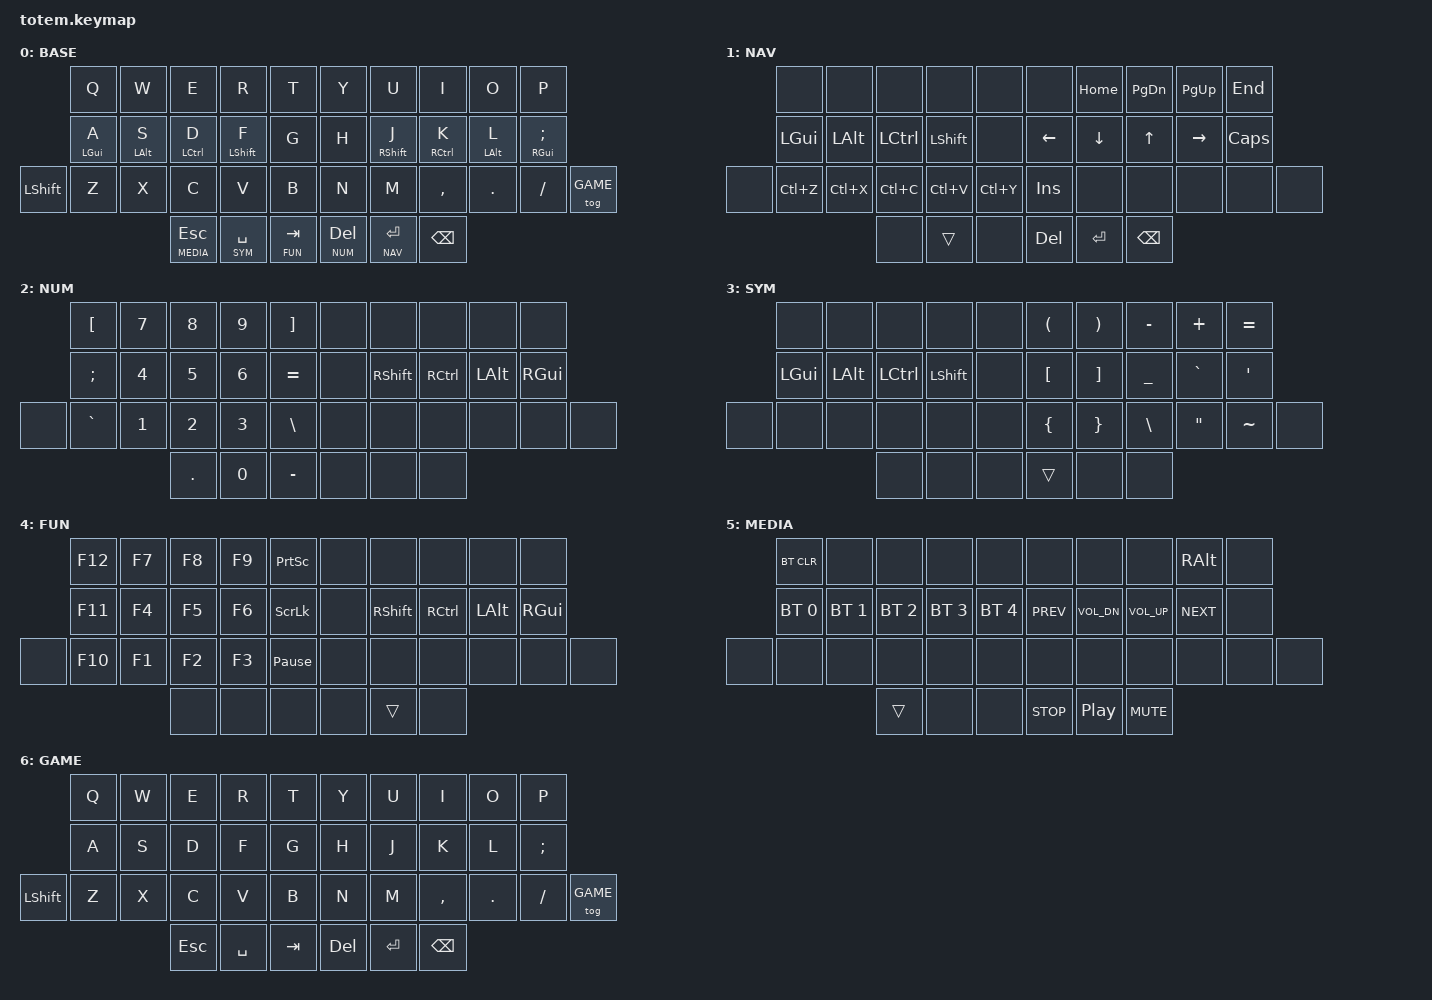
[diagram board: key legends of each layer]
//
//                                                        ▀▀▀▀▀     ▀▀▀▀▀          ▀▀█▀▀
//                                                        ▄▀▀▀▄  ▄  ▄▀▀▀▄  ▄  ▄▀▀▀▄  █  ▄▀▀▀▄
//                                                        █   █  █  █   █  █  █   █  █  █   █
//                                                         ▀▀▀   █   ▀▀▀   █   ▀▀▀   ▀   ▀▀▀
//                                                               █      ▄▄▄█▄▄▄    █   █
//                                                               ▀      █  █  █     █▄█
//                                                             ▀▀▀▀▀    █  █  █      ▀
//                                                                      ▀  ▀  ▀
//
// ▄▄▄▄▄▄▄▄▄▄▄▄▄▄▄▄▄▄▄▄▄▄▄▄▄▄▄▄▄▄▄▄▄▄▄▄▄▄▄▄▄▄▄▄▄▄▄▄▄▄▄▄▄▄▄▄▄▄▄▄▄▄▄▄▄▄▄▄▄▄▄▄▄▄▄▄▄▄▄▄▄▄▄▄▄▄▄▄▄▄▄▄▄▄▄▄▄▄▄▄▄▄▄▄▄▄▄▄▄▄▄▄▄▄▄▄▄▄▄▄▄▄▄▄▄▄▄▄▄▄▄▄▄▄▄▄▄▄▄▄▄▄▄▄▄▄▄▄▄

#include <behaviors.dtsi>
#include <dt-bindings/zmk/bt.h>
#include <dt-bindings/zmk/keys.h>

#define BASE 0
#define NAV  1
#define NUM  2
#define SYM  3
#define FUN  4
#define MEDIA 5
#define GAME 6

/ {
    behaviors {
        hm: homerow_mods {
            compatible = "zmk,behavior-hold-tap";
            #binding-cells = <2>;
            tapping-term-ms = <200>;
            quick-tap-ms = <0>;
            flavor = "tap-preferred";
            bindings = <&kp>, <&kp>;
        };
    };

    keymap {
        compatible = "zmk,keymap";

        // ▄▄▄▄▄▄▄▄▄▄▄▄▄▄▄▄▄▄▄▄▄▄▄▄▄▄▄▄▄▄▄▄▄▄▄▄▄▄▄▄▄▄▄▄▄▄▄▄▄▄▄▄▄▄▄▄▄▄▄▄▄▄▄▄▄▄▄▄▄▄▄▄▄▄▄▄▄▄▄▄▄▄▄▄▄▄▄▄▄▄▄▄▄▄▄▄▄▄▄▄▄▄▄▄▄▄▄▄▄▄▄▄▄▄▄▄▄▄▄▄▄▄▄▄▄▄▄▄▄▄▄▄▄▄▄▄▄▄▄▄▄▄▄▄▄▄▄▄▄

        base_layer {
            // ┏━━━━━━━━━━━━━━━━━━━━━━━━━━━━━━━━━━━━━━━┓

            label = "BASE";

            // ┗━━━━━━━━━━━━━━━━━━━━━━━━━━━━━━━━━━━━━━━┛
            //             ┏━━━━━━━━━━━┳━━━━━━━━━━━┳━━━━━━━━━━━┳━━━━━━━━━━━┳━━━━━━━━━━━┓   ┏━━━━━━━━━━━┳━━━━━━━━━━━┳━━━━━━━━━━━┳━━━━━━━━━━━┳━━━━━━━━━━━┓
            //             ┃     Q     ┃     W     ┃     E     ┃     R     ┃     T     ┃   ┃     Y     ┃     U     ┃     I     ┃     O     ┃     P     ┃
            //             ┣━━━━━━━━━━━╋━━━━━━━━━━━╋━━━━━━━━━━━╋━━━━━━━━━━━╋━━━━━━━━━━━┫   ┣━━━━━━━━━━━╋━━━━━━━━━━━╋━━━━━━━━━━━╋━━━━━━━━━━━╋━━━━━━━━━━━┫
            //             ┃  GUI/A    ┃  ALT/S    ┃  CTRL/D   ┃  SHFT/F   ┃     G     ┃   ┃     H     ┃  SHFT/J   ┃  CTRL/K   ┃  ALT/L    ┃  GUI/;    ┃
            // ┏━━━━━━━━━━━╋━━━━━━━━━━━╋━━━━━━━━━━━╋━━━━━━━━━━━╋━━━━━━━━━━━╋━━━━━━━━━━━┫   ┣━━━━━━━━━━━╋━━━━━━━━━━━╋━━━━━━━━━━━╋━━━━━━━━━━━╋━━━━━━━━━━━╋━━━━━━━━━━━┓
            // ┃           ┃     Z     ┃     X     ┃     C     ┃     V     ┃     B     ┃   ┃     N     ┃     M     ┃     ,     ┃     .     ┃     /     ┃           ┃
            // ┗━━━━━━━━━━━┻━━━━━━━━━━━┻━━━━━━━━━━━╋━━━━━━━━━━━╋━━━━━━━━━━━╋━━━━━━━━━━━┫   ┣━━━━━━━━━━━╋━━━━━━━━━━━╋━━━━━━━━━━━╋━━━━━━━━━━━┻━━━━━━━━━━━┻━━━━━━━━━━━┛
            //                                     ┃ ESC/MEDIA ┃ SPC/SYM   ┃ TAB/FUN   ┃   ┃ DEL/NUM   ┃ ENT/NAV   ┃   BSPC    ┃
            //                                     ┗━━━━━━━━━━━┻━━━━━━━━━━━┻━━━━━━━━━━━┛   ┗━━━━━━━━━━━┻━━━━━━━━━━━┻━━━━━━━━━━━┛

            bindings = <
                &kp Q       &kp W       &kp E          &kp R          &kp T          &kp Y        &kp U          &kp I        &kp O       &kp P
                &hm LGUI A  &hm LALT S  &hm LCTRL D    &hm LSHFT F    &kp G          &kp H        &hm RSHFT J    &hm RCTRL K  &hm LALT L  &hm RGUI SEMI
&kp LEFT_SHIFT  &kp Z       &kp X       &kp C          &kp V          &kp B          &kp N        &kp M          &kp COMMA    &kp DOT     &kp FSLH       &tog GAME
                                        &lt MEDIA ESC  &lt SYM SPACE  &lt FUN TAB    &lt NUM DEL  &lt NAV ENTER  &kp BSPC
            >;
        };

        // ▄▄▄▄▄▄▄▄▄▄▄▄▄▄▄▄▄▄▄▄▄▄▄▄▄▄▄▄▄▄▄▄▄▄▄▄▄▄▄▄▄▄▄▄▄▄▄▄▄▄▄▄▄▄▄▄▄▄▄▄▄▄▄▄▄▄▄▄▄▄▄▄▄▄▄▄▄▄▄▄▄▄▄▄▄▄▄▄▄▄▄▄▄▄▄▄▄▄▄▄▄▄▄▄▄▄▄▄▄▄▄▄▄▄▄▄▄▄▄▄▄▄▄▄▄▄▄▄▄▄▄▄▄▄▄▄▄▄▄▄▄▄▄▄▄▄▄▄▄

        nav_layer {
            // ┏━━━━━━━━━━━━━━━━━━━━━━━━━━━━━━━━━━━━━━━┓

            label = "NAV";

            // ┗━━━━━━━━━━━━━━━━━━━━━━━━━━━━━━━━━━━━━━━┛
            //             ┏━━━━━━━━━━━┳━━━━━━━━━━━┳━━━━━━━━━━━┳━━━━━━━━━━━┳━━━━━━━━━━━┓   ┏━━━━━━━━━━━┳━━━━━━━━━━━┳━━━━━━━━━━━┳━━━━━━━━━━━┳━━━━━━━━━━━┓
            //             ┃           ┃           ┃           ┃           ┃           ┃   ┃           ┃   HOME    ┃  PG_DN    ┃  PG_UP    ┃    END    ┃
            //             ┣━━━━━━━━━━━╋━━━━━━━━━━━╋━━━━━━━━━━━╋━━━━━━━━━━━╋━━━━━━━━━━━┫   ┣━━━━━━━━━━━╋━━━━━━━━━━━╋━━━━━━━━━━━╋━━━━━━━━━━━╋━━━━━━━━━━━┫
            //             ┃   GUI     ┃   ALT     ┃   CTRL    ┃   SHFT    ┃           ┃   ┃   LEFT    ┃   DOWN    ┃    UP     ┃   RIGHT   ┃   CAPS    ┃
            // ┏━━━━━━━━━━━╋━━━━━━━━━━━╋━━━━━━━━━━━╋━━━━━━━━━━━╋━━━━━━━━━━━╋━━━━━━━━━━━┫   ┣━━━━━━━━━━━╋━━━━━━━━━━━╋━━━━━━━━━━━╋━━━━━━━━━━━╋━━━━━━━━━━━╋━━━━━━━━━━━┓
            // ┃           ┃   UNDO    ┃   CUT     ┃   COPY    ┃   PASTE   ┃   REDO    ┃   ┃   INS     ┃           ┃           ┃           ┃           ┃           ┃
            // ┗━━━━━━━━━━━┻━━━━━━━━━━━┻━━━━━━━━━━━╋━━━━━━━━━━━╋━━━━━━━━━━━╋━━━━━━━━━━━┫   ┣━━━━━━━━━━━╋━━━━━━━━━━━╋━━━━━━━━━━━╋━━━━━━━━━━━┻━━━━━━━━━━━┻━━━━━━━━━━━┛
            //                                     ┃           ┃           ┃           ┃   ┃    DEL    ┃   ENTER   ┃   BSPC    ┃
            //                                     ┗━━━━━━━━━━━┻━━━━━━━━━━━┻━━━━━━━━━━━┛   ┗━━━━━━━━━━━┻━━━━━━━━━━━┻━━━━━━━━━━━┛

            bindings = <
       &none      &none      &none      &none      &none        &none     &kp HOME   &kp PG_DN  &kp PG_UP  &kp END
       &kp LGUI   &kp LALT   &kp LCTRL  &kp LSHFT  &none        &kp LEFT  &kp DOWN   &kp UP     &kp RIGHT  &kp CAPS
&none  &kp LC(Z)  &kp LC(X)  &kp LC(C)  &kp LC(V)  &kp LC(Y)    &kp INS   &none      &none      &none      &none     &none
                             &none      &trans     &none        &kp DEL   &kp ENTER  &kp BSPC
            >;
        };

        // ▄▄▄▄▄▄▄▄▄▄▄▄▄▄▄▄▄▄▄▄▄▄▄▄▄▄▄▄▄▄▄▄▄▄▄▄▄▄▄▄▄▄▄▄▄▄▄▄▄▄▄▄▄▄▄▄▄▄▄▄▄▄▄▄▄▄▄▄▄▄▄▄▄▄▄▄▄▄▄▄▄▄▄▄▄▄▄▄▄▄▄▄▄▄▄▄▄▄▄▄▄▄▄▄▄▄▄▄▄▄▄▄▄▄▄▄▄▄▄▄▄▄▄▄▄▄▄▄▄▄▄▄▄▄▄▄▄▄▄▄▄▄▄▄▄▄▄▄▄

        num_layer {
            // ┏━━━━━━━━━━━━━━━━━━━━━━━━━━━━━━━━━━━━━━━┓

            label = "NUM";

            // ┗━━━━━━━━━━━━━━━━━━━━━━━━━━━━━━━━━━━━━━━┛
            //             ┏━━━━━━━━━━━┳━━━━━━━━━━━┳━━━━━━━━━━━┳━━━━━━━━━━━┳━━━━━━━━━━━┓   ┏━━━━━━━━━━━┳━━━━━━━━━━━┳━━━━━━━━━━━┳━━━━━━━━━━━┳━━━━━━━━━━━┓
            //             ┃     [     ┃     7     ┃     8     ┃     9     ┃     ]     ┃   ┃           ┃           ┃           ┃           ┃           ┃
            //             ┣━━━━━━━━━━━╋━━━━━━━━━━━╋━━━━━━━━━━━╋━━━━━━━━━━━╋━━━━━━━━━━━┫   ┣━━━━━━━━━━━╋━━━━━━━━━━━╋━━━━━━━━━━━╋━━━━━━━━━━━╋━━━━━━━━━━━┫
            //             ┃     ;     ┃     4     ┃     5     ┃     6     ┃     =     ┃   ┃           ┃   SHFT    ┃   CTRL    ┃   ALT     ┃   GUI     ┃
            // ┏━━━━━━━━━━━╋━━━━━━━━━━━╋━━━━━━━━━━━╋━━━━━━━━━━━╋━━━━━━━━━━━╋━━━━━━━━━━━┫   ┣━━━━━━━━━━━╋━━━━━━━━━━━╋━━━━━━━━━━━╋━━━━━━━━━━━╋━━━━━━━━━━━╋━━━━━━━━━━━┓
            // ┃           ┃     `     ┃     1     ┃     2     ┃     3     ┃     \     ┃   ┃           ┃           ┃           ┃           ┃           ┃           ┃
            // ┗━━━━━━━━━━━┻━━━━━━━━━━━┻━━━━━━━━━━━╋━━━━━━━━━━━╋━━━━━━━━━━━╋━━━━━━━━━━━┫   ┣━━━━━━━━━━━╋━━━━━━━━━━━╋━━━━━━━━━━━╋━━━━━━━━━━━┻━━━━━━━━━━━┻━━━━━━━━━━━┛
            //                                     ┃     .     ┃     0     ┃    MINUS  ┃   ┃           ┃           ┃           ┃
            //                                     ┗━━━━━━━━━━━┻━━━━━━━━━━━┻━━━━━━━━━━━┛   ┗━━━━━━━━━━━┻━━━━━━━━━━━┻━━━━━━━━━━━┛

            bindings = <
       &kp LBKT   &kp N7  &kp N8   &kp N9  &kp RBKT     &none  &none      &none      &none     &none
       &kp SEMI   &kp N4  &kp N5   &kp N6  &kp EQUAL    &none  &kp RSHFT  &kp RCTRL  &kp LALT  &kp RGUI
&none  &kp GRAVE  &kp N1  &kp N2   &kp N3  &kp BSLH     &none  &none      &none      &none     &none     &none
                          &kp DOT  &kp N0  &kp MINUS    &none  &none      &none
            >;
        };

        // ▄▄▄▄▄▄▄▄▄▄▄▄▄▄▄▄▄▄▄▄▄▄▄▄▄▄▄▄▄▄▄▄▄▄▄▄▄▄▄▄▄▄▄▄▄▄▄▄▄▄▄▄▄▄▄▄▄▄▄▄▄▄▄▄▄▄▄▄▄▄▄▄▄▄▄▄▄▄▄▄▄▄▄▄▄▄▄▄▄▄▄▄▄▄▄▄▄▄▄▄▄▄▄▄▄▄▄▄▄▄▄▄▄▄▄▄▄▄▄▄▄▄▄▄▄▄▄▄▄▄▄▄▄▄▄▄▄▄▄▄▄▄▄▄▄▄▄▄▄

        sym_layer {
            // ┏━━━━━━━━━━━━━━━━━━━━━━━━━━━━━━━━━━━━━━━┓

            label = "SYM";

            // ┗━━━━━━━━━━━━━━━━━━━━━━━━━━━━━━━━━━━━━━━┛
            //             ┏━━━━━━━━━━━┳━━━━━━━━━━━┳━━━━━━━━━━━┳━━━━━━━━━━━┳━━━━━━━━━━━┓   ┏━━━━━━━━━━━┳━━━━━━━━━━━┳━━━━━━━━━━━┳━━━━━━━━━━━┳━━━━━━━━━━━┓
            //             ┃           ┃           ┃           ┃           ┃           ┃   ┃     (     ┃     )     ┃     -     ┃     +     ┃     =     ┃
            //             ┣━━━━━━━━━━━╋━━━━━━━━━━━╋━━━━━━━━━━━╋━━━━━━━━━━━╋━━━━━━━━━━━┫   ┣━━━━━━━━━━━╋━━━━━━━━━━━╋━━━━━━━━━━━╋━━━━━━━━━━━╋━━━━━━━━━━━┫
            //             ┃   GUI     ┃   ALT     ┃   CTRL    ┃   SHFT    ┃           ┃   ┃     [     ┃     ]     ┃     _     ┃     |     ┃     '     ┃
            // ┏━━━━━━━━━━━╋━━━━━━━━━━━╋━━━━━━━━━━━╋━━━━━━━━━━━╋━━━━━━━━━━━╋━━━━━━━━━━━┫   ┣━━━━━━━━━━━╋━━━━━━━━━━━╋━━━━━━━━━━━╋━━━━━━━━━━━╋━━━━━━━━━━━╋━━━━━━━━━━━┓
            // ┃           ┃           ┃           ┃           ┃           ┃           ┃   ┃     {     ┃     }     ┃     \     ┃     "     ┃     ~     ┃           ┃
            // ┗━━━━━━━━━━━┻━━━━━━━━━━━┻━━━━━━━━━━━╋━━━━━━━━━━━╋━━━━━━━━━━━╋━━━━━━━━━━━┫   ┣━━━━━━━━━━━╋━━━━━━━━━━━╋━━━━━━━━━━━╋━━━━━━━━━━━┻━━━━━━━━━━━┻━━━━━━━━━━━┛
            //                                     ┃           ┃           ┃           ┃   ┃           ┃           ┃           ┃
            //                                     ┗━━━━━━━━━━━┻━━━━━━━━━━━┻━━━━━━━━━━━┛   ┗━━━━━━━━━━━┻━━━━━━━━━━━┻━━━━━━━━━━━┛

            bindings = <
       &none     &none     &none      &none      &none    &kp LPAR  &kp RPAR  &kp MINUS  &kp PLUS   &kp EQUAL
       &kp LGUI  &kp LALT  &kp LCTRL  &kp LSHFT  &none    &kp LBKT  &kp RBKT  &kp UNDER  &kp GRAVE  &kp SQT
&none  &none     &none     &none      &none      &none    &kp LBRC  &kp RBRC  &kp BSLH   &kp DQT    &kp TILDE  &none
                           &none      &none      &none    &trans    &none     &none
            >;
        };

        // ▄▄▄▄▄▄▄▄▄▄▄▄▄▄▄▄▄▄▄▄▄▄▄▄▄▄▄▄▄▄▄▄▄▄▄▄▄▄▄▄▄▄▄▄▄▄▄▄▄▄▄▄▄▄▄▄▄▄▄▄▄▄▄▄▄▄▄▄▄▄▄▄▄▄▄▄▄▄▄▄▄▄▄▄▄▄▄▄▄▄▄▄▄▄▄▄▄▄▄▄▄▄▄▄▄▄▄▄▄▄▄▄▄▄▄▄▄▄▄▄▄▄▄▄▄▄▄▄▄▄▄▄▄▄▄▄▄▄▄▄▄▄▄▄▄▄▄▄▄

        fun_layer {
            // ┏━━━━━━━━━━━━━━━━━━━━━━━━━━━━━━━━━━━━━━━┓

            label = "FUN";

            // ┗━━━━━━━━━━━━━━━━━━━━━━━━━━━━━━━━━━━━━━━┛
            //             ┏━━━━━━━━━━━┳━━━━━━━━━━━┳━━━━━━━━━━━┳━━━━━━━━━━━┳━━━━━━━━━━━┓   ┏━━━━━━━━━━━┳━━━━━━━━━━━┳━━━━━━━━━━━┳━━━━━━━━━━━┳━━━━━━━━━━━┓
            //             ┃    F12    ┃    F7     ┃    F8     ┃    F9     ┃   PSCRN   ┃   ┃           ┃           ┃           ┃           ┃           ┃
            //             ┣━━━━━━━━━━━╋━━━━━━━━━━━╋━━━━━━━━━━━╋━━━━━━━━━━━╋━━━━━━━━━━━┫   ┣━━━━━━━━━━━╋━━━━━━━━━━━╋━━━━━━━━━━━╋━━━━━━━━━━━╋━━━━━━━━━━━┫
            //             ┃    F11    ┃    F4     ┃    F5     ┃    F6     ┃   SLCK    ┃   ┃           ┃   SHFT    ┃   CTRL    ┃   ALT     ┃   GUI     ┃
            // ┏━━━━━━━━━━━╋━━━━━━━━━━━╋━━━━━━━━━━━╋━━━━━━━━━━━╋━━━━━━━━━━━╋━━━━━━━━━━━┫   ┣━━━━━━━━━━━╋━━━━━━━━━━━╋━━━━━━━━━━━╋━━━━━━━━━━━╋━━━━━━━━━━━╋━━━━━━━━━━━┓
            // ┃           ┃    F10    ┃    F1     ┃    F2     ┃    F3     ┃   PAUSE   ┃   ┃           ┃           ┃           ┃           ┃           ┃           ┃
            // ┗━━━━━━━━━━━┻━━━━━━━━━━━┻━━━━━━━━━━━╋━━━━━━━━━━━╋━━━━━━━━━━━╋━━━━━━━━━━━┫   ┣━━━━━━━━━━━╋━━━━━━━━━━━╋━━━━━━━━━━━╋━━━━━━━━━━━┻━━━━━━━━━━━┻━━━━━━━━━━━┛
            //                                     ┃           ┃           ┃           ┃   ┃           ┃           ┃           ┃
            //                                     ┗━━━━━━━━━━━┻━━━━━━━━━━━┻━━━━━━━━━━━┛   ┗━━━━━━━━━━━┻━━━━━━━━━━━┻━━━━━━━━━━━┛

            bindings = <
       &kp F12  &kp F7  &kp F8  &kp F9  &kp PSCRN          &none  &none      &none      &none     &none
       &kp F11  &kp F4  &kp F5  &kp F6  &kp SLCK           &none  &kp RSHFT  &kp RCTRL  &kp LALT  &kp RGUI
&none  &kp F10  &kp F1  &kp F2  &kp F3  &kp PAUSE_BREAK    &none  &none      &none      &none     &none     &none
                        &none   &none   &none              &none  &trans     &none
            >;
        };

        // ▄▄▄▄▄▄▄▄▄▄▄▄▄▄▄▄▄▄▄▄▄▄▄▄▄▄▄▄▄▄▄▄▄▄▄▄▄▄▄▄▄▄▄▄▄▄▄▄▄▄▄▄▄▄▄▄▄▄▄▄▄▄▄▄▄▄▄▄▄▄▄▄▄▄▄▄▄▄▄▄▄▄▄▄▄▄▄▄▄▄▄▄▄▄▄▄▄▄▄▄▄▄▄▄▄▄▄▄▄▄▄▄▄▄▄▄▄▄▄▄▄▄▄▄▄▄▄▄▄▄▄▄▄▄▄▄▄▄▄▄▄▄▄▄▄▄▄▄▄

        media_layer {
            // ┏━━━━━━━━━━━━━━━━━━━━━━━━━━━━━━━━━━━━━━━┓

            label = "MEDIA";

            // ┗━━━━━━━━━━━━━━━━━━━━━━━━━━━━━━━━━━━━━━━┛
            //             ┏━━━━━━━━━━━┳━━━━━━━━━━━┳━━━━━━━━━━━┳━━━━━━━━━━━┳━━━━━━━━━━━┓   ┏━━━━━━━━━━━┳━━━━━━━━━━━┳━━━━━━━━━━━┳━━━━━━━━━━━┳━━━━━━━━━━━┓
            //             ┃  BT_CLR   ┃           ┃           ┃           ┃           ┃   ┃           ┃           ┃           ┃   RALT    ┃           ┃
            //             ┣━━━━━━━━━━━╋━━━━━━━━━━━╋━━━━━━━━━━━╋━━━━━━━━━━━╋━━━━━━━━━━━┫   ┣━━━━━━━━━━━╋━━━━━━━━━━━╋━━━━━━━━━━━╋━━━━━━━━━━━╋━━━━━━━━━━━┫
            //             ┃   BT 0    ┃   BT 1    ┃   BT 2    ┃   BT 3    ┃   BT 4    ┃   ┃   PREV    ┃  VOL_DN   ┃  VOL_UP   ┃   NEXT    ┃           ┃
            // ┏━━━━━━━━━━━╋━━━━━━━━━━━╋━━━━━━━━━━━╋━━━━━━━━━━━╋━━━━━━━━━━━╋━━━━━━━━━━━┫   ┣━━━━━━━━━━━╋━━━━━━━━━━━╋━━━━━━━━━━━╋━━━━━━━━━━━╋━━━━━━━━━━━╋━━━━━━━━━━━┓
            // ┃           ┃           ┃           ┃           ┃           ┃           ┃   ┃           ┃           ┃           ┃           ┃           ┃           ┃
            // ┗━━━━━━━━━━━┻━━━━━━━━━━━┻━━━━━━━━━━━╋━━━━━━━━━━━╋━━━━━━━━━━━╋━━━━━━━━━━━┫   ┣━━━━━━━━━━━╋━━━━━━━━━━━╋━━━━━━━━━━━╋━━━━━━━━━━━┻━━━━━━━━━━━┻━━━━━━━━━━━┛
            //                                     ┃           ┃           ┃           ┃   ┃   STOP    ┃   PP      ┃   MUTE    ┃
            //                                     ┗━━━━━━━━━━━┻━━━━━━━━━━━┻━━━━━━━━━━━┛   ┗━━━━━━━━━━━┻━━━━━━━━━━━┻━━━━━━━━━━━┛

            bindings = <
       &bt BT_CLR    &none         &none         &none         &none           &none       &none         &none         &kp RALT    &none
       &bt BT_SEL 0  &bt BT_SEL 1  &bt BT_SEL 2  &bt BT_SEL 3  &bt BT_SEL 4    &kp C_PREV  &kp C_VOL_DN  &kp C_VOL_UP  &kp C_NEXT  &none
&none  &none         &none         &none         &none         &none           &none       &none         &none         &none       &none  &none
                                   &trans        &none         &none           &kp C_STOP  &kp C_PP      &kp C_MUTE
            >;
        };

        // ▄▄▄▄▄▄▄▄▄▄▄▄▄▄▄▄▄▄▄▄▄▄▄▄▄▄▄▄▄▄▄▄▄▄▄▄▄▄▄▄▄▄▄▄▄▄▄▄▄▄▄▄▄▄▄▄▄▄▄▄▄▄▄▄▄▄▄▄▄▄▄▄▄▄▄▄▄▄▄▄▄▄▄▄▄▄▄▄▄▄▄▄▄▄▄▄▄▄▄▄▄▄▄▄▄▄▄▄▄▄▄▄▄▄▄▄▄▄▄▄▄▄▄▄▄▄▄▄▄▄▄▄▄▄▄▄▄▄▄▄▄▄▄▄▄▄▄▄▄

        game_layer {
            // ┏━━━━━━━━━━━━━━━━━━━━━━━━━━━━━━━━━━━━━━━┓

            label = "GAME";

            // ┗━━━━━━━━━━━━━━━━━━━━━━━━━━━━━━━━━━━━━━━┛
            // Same layout as BASE but with plain keys (no homerow mods, no layer-taps)
            // Toggle back to BASE with the same key position (right outer thumb area)
            //             ┏━━━━━━━━━━━┳━━━━━━━━━━━┳━━━━━━━━━━━┳━━━━━━━━━━━┳━━━━━━━━━━━┓   ┏━━━━━━━━━━━┳━━━━━━━━━━━┳━━━━━━━━━━━┳━━━━━━━━━━━┳━━━━━━━━━━━┓
            //             ┃     Q     ┃     W     ┃     E     ┃     R     ┃     T     ┃   ┃     Y     ┃     U     ┃     I     ┃     O     ┃     P     ┃
            //             ┣━━━━━━━━━━━╋━━━━━━━━━━━╋━━━━━━━━━━━╋━━━━━━━━━━━╋━━━━━━━━━━━┫   ┣━━━━━━━━━━━╋━━━━━━━━━━━╋━━━━━━━━━━━╋━━━━━━━━━━━╋━━━━━━━━━━━┫
            //             ┃     A     ┃     S     ┃     D     ┃     F     ┃     G     ┃   ┃     H     ┃     J     ┃     K     ┃     L     ┃     ;     ┃
            // ┏━━━━━━━━━━━╋━━━━━━━━━━━╋━━━━━━━━━━━╋━━━━━━━━━━━╋━━━━━━━━━━━╋━━━━━━━━━━━┫   ┣━━━━━━━━━━━╋━━━━━━━━━━━╋━━━━━━━━━━━╋━━━━━━━━━━━╋━━━━━━━━━━━╋━━━━━━━━━━━┓
            // ┃   LSHFT   ┃     Z     ┃     X     ┃     C     ┃     V     ┃     B     ┃   ┃     N     ┃     M     ┃     ,     ┃     .     ┃     /     ┃ tog GAME  ┃
            // ┗━━━━━━━━━━━┻━━━━━━━━━━━┻━━━━━━━━━━━╋━━━━━━━━━━━╋━━━━━━━━━━━╋━━━━━━━━━━━┫   ┣━━━━━━━━━━━╋━━━━━━━━━━━╋━━━━━━━━━━━╋━━━━━━━━━━━┻━━━━━━━━━━━┻━━━━━━━━━━━┛
            //                                     ┃    ESC    ┃   SPACE   ┃    TAB    ┃   ┃    DEL    ┃   ENTER   ┃   BSPC    ┃
            //                                     ┗━━━━━━━━━━━┻━━━━━━━━━━━┻━━━━━━━━━━━┛   ┗━━━━━━━━━━━┻━━━━━━━━━━━┻━━━━━━━━━━━┛

            bindings = <
                &kp Q  &kp W  &kp E    &kp R      &kp T      &kp Y    &kp U      &kp I      &kp O    &kp P
                &kp A  &kp S  &kp D    &kp F      &kp G      &kp H    &kp J      &kp K      &kp L    &kp SEMI
&kp LEFT_SHIFT  &kp Z  &kp X  &kp C    &kp V      &kp B      &kp N    &kp M      &kp COMMA  &kp DOT  &kp FSLH  &tog GAME
                              &kp ESC  &kp SPACE  &kp TAB    &kp DEL  &kp ENTER  &kp BSPC
            >;
        };
    };
};
